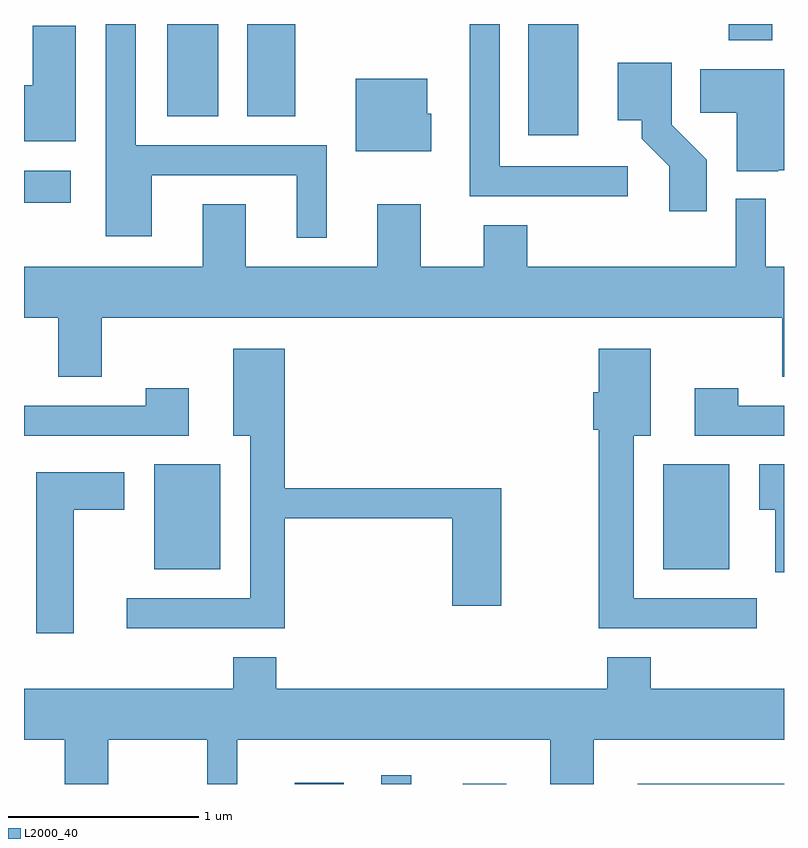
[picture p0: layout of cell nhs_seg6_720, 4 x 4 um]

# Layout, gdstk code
import gdstk
lib = gdstk.Library(unit=1e-6, precision=1e-09)
def R(c, l, rs):  # rectangles x0, y0, x1, y1
    for r in rs: c.add(gdstk.rectangle(r[:2], r[2:], *l))
def P(c, l, *ps):  # polygons
    for p in ps: c.add(gdstk.Polygon(p, *l))
L2000_40 = (2000, 40)

nhs_seg6_720 = lib.new_cell('nhs_seg6_720')
R(nhs_seg6_720, L2000_40, [(207.036,1634.162,207.294,1634.169), (207.491,1634.162,207.649,1634.208), (207.921,1634.162,208.149,1634.164), (208.841,1634.162,209.611,1634.164), (206.296,1635.291,206.644,1635.844), (208.976,1635.291,209.324,1635.844), (205.611,1637.221,205.858,1637.389), (208.266,1637.576,208.529,1638.162), (206.366,1637.676,206.634,1638.162), (206.786,1637.676,207.039,1638.162), (209.321,1638.076,209.549,1638.162)])
P(nhs_seg6_720, L2000_40, [(207.204,1637.524),(206.199,1637.524),(206.199,1638.162),(206.041,1638.162),(206.041,1637.046),(206.284,1637.046),(206.284,1637.366),(207.046,1637.366),(207.046,1637.038),(207.204,1637.038)],
  [(208.788,1637.414),(208.114,1637.414),(208.114,1638.162),(207.956,1638.162),(207.956,1637.256),(208.788,1637.256)],
  [(205.884,1638.154),(205.656,1638.154),(205.656,1637.839),(205.611,1637.839),(205.611,1637.546),(205.884,1637.546)],
  [(209.204,1637.447),(209.019,1637.632),(209.019,1637.959),(208.736,1637.959),(208.736,1637.656),(208.861,1637.656),(208.861,1637.559),(209.006,1637.414),(209.006,1637.176),(209.204,1637.176)],
  [(209.58,1637.391),(209.611,1637.391),(209.611,1637.924),(209.171,1637.924),(209.171,1637.696),(209.361,1637.696),(209.361,1637.386),(209.58,1637.386)],
  [(207.754,1637.689),(207.734,1637.689),(207.734,1637.874),(207.356,1637.874),(207.356,1637.491),(207.754,1637.491)],
  [(206.019,1636.616),(209.601,1636.616),(209.601,1636.306),(209.611,1636.306),(209.611,1636.884),(209.514,1636.884),(209.514,1637.243),(209.356,1637.243),(209.356,1636.884),(208.259,1636.884),(208.259,1637.104),(208.031,1637.104),(208.031,1636.884),(207.699,1636.884),(207.699,1637.214),(207.471,1637.214),(207.471,1636.884),(206.779,1636.884),(206.779,1637.214),(206.551,1637.214),(206.551,1636.884),(205.611,1636.884),(205.611,1636.616),(205.791,1636.616),(205.791,1636.306),(206.019,1636.306)],
  [(209.468,1635.139),(208.819,1635.139),(208.819,1635.996),(208.909,1635.996),(208.909,1636.454),(208.636,1636.454),(208.636,1636.224),(208.606,1636.224),(208.606,1636.026),(208.636,1636.026),(208.636,1634.981),(209.468,1634.981)],
  [(206.984,1635.561),(207.866,1635.561),(207.866,1635.101),(208.124,1635.101),(208.124,1635.719),(206.984,1635.719),(206.984,1636.454),(206.711,1636.454),(206.711,1635.996),(206.801,1635.996),(206.801,1635.139),(206.153,1635.139),(206.153,1634.981),(206.984,1634.981)],
  [(209.611,1636.154),(209.369,1636.154),(209.369,1636.244),(209.141,1636.244),(209.141,1635.996),(209.611,1635.996)],
  [(206.479,1636.244),(206.251,1636.244),(206.251,1636.154),(205.611,1636.154),(205.611,1635.996),(206.479,1635.996)],
  [(209.611,1635.844),(209.481,1635.844),(209.481,1635.606),(209.566,1635.606),(209.566,1635.276),(209.611,1635.276)],
  [(205.874,1635.606),(206.139,1635.606),(206.139,1635.804),(205.676,1635.804),(205.676,1634.956),(205.874,1634.956)],
  [(206.054,1634.396),(206.576,1634.396),(206.576,1634.162),(206.734,1634.162),(206.734,1634.396),(208.381,1634.396),(208.381,1634.162),(208.609,1634.162),(208.609,1634.396),(209.611,1634.396),(209.611,1634.664),(208.909,1634.664),(208.909,1634.829),(208.681,1634.829),(208.681,1634.664),(206.939,1634.664),(206.939,1634.829),(206.711,1634.829),(206.711,1634.664),(205.611,1634.664),(205.611,1634.396),(205.826,1634.396),(205.826,1634.162),(206.054,1634.162)])

lib.write_gds('nhs_seg6_720.gds')
